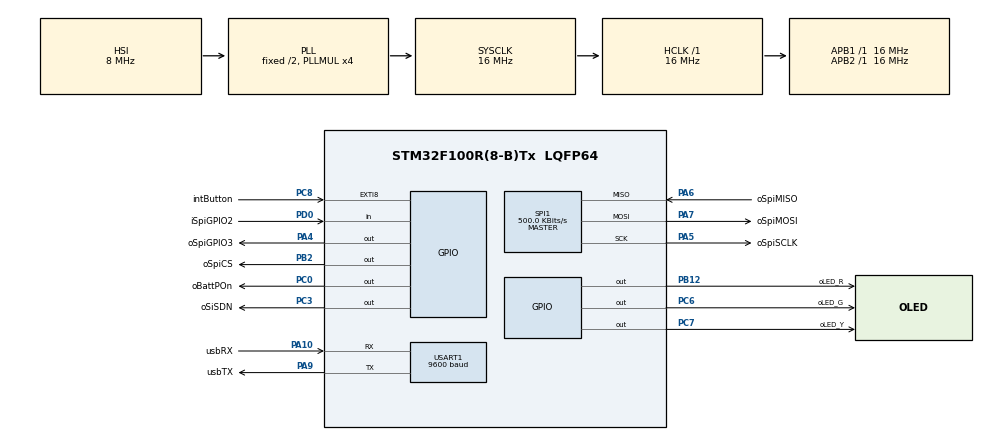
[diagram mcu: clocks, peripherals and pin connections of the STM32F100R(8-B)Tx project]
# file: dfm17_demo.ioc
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Mcu.Family=STM32F1
Mcu.Name=STM32F100R(8-B)Tx
Mcu.Package=LQFP64
NVIC.EXTI9_5_IRQn=true\:0\:0\:false\:false\:true\:true\:true\:true
NVIC.PriorityGroup=NVIC_PRIORITYGROUP_4
PA10.GPIO_Label=usbRX
PA10.Mode=Asynchronous
PA10.Signal=USART1_RX
PA13.Mode=Serial_Wire
PA13.Signal=SYS_JTMS-SWDIO
PA14.Mode=Serial_Wire
PA14.Signal=SYS_JTCK-SWCLK
PA4.GPIO_Label=oSpiGPIO3
PA4.Signal=GPIO_Output
PA5.GPIO_Label=oSpiSCLK
PA5.GPIO_Speed=GPIO_SPEED_FREQ_LOW
PA5.Mode=Full_Duplex_Master
PA5.Signal=SPI1_SCK
PA6.GPIO_Label=oSpiMISO
PA6.GPIO_PuPd=GPIO_PULLUP
PA6.Mode=Full_Duplex_Master
PA6.Signal=SPI1_MISO
PA7.GPIO_Label=oSpiMOSI
PA7.GPIO_Speed=GPIO_SPEED_FREQ_LOW
PA7.Mode=Full_Duplex_Master
PA7.Signal=SPI1_MOSI
PA9.GPIO_Label=usbTX
PA9.Mode=Asynchronous
PA9.Signal=USART1_TX
PB12.GPIO_Label=oLED_R
PB12.Signal=GPIO_Output
PB2.GPIO_Label=oSpiCS
PB2.GPIO_PuPd=GPIO_PULLUP
PB2.GPIO_Speed=GPIO_SPEED_FREQ_LOW
PB2.PinState=GPIO_PIN_SET
PB2.Signal=GPIO_Output
PB3.Signal=SYS_JTDO-TRACESWO
PC0.GPIO_Label=oBattPOn
PC0.Signal=GPIO_Output
PC3.GPIO_Label=oSiSDN
PC3.GPIO_PuPd=GPIO_PULLUP
PC3.PinState=GPIO_PIN_SET
PC3.Signal=GPIO_Output
PC6.GPIO_Label=oLED_G
PC6.Signal=GPIO_Output
PC7.GPIO_Label=oLED_Y
PC7.Signal=GPIO_Output
PC8.GPIO_Label=intButton
PC8.GPIO_ModeDefaultEXTI=GPIO_MODE_IT_RISING_FALLING
PC8.Signal=GPXTI8
PD0-OSC_IN.GPIO_Label=iSpiGPIO2
PD0-OSC_IN.Signal=GPIO_Input
ProjectManager.HeapSize=0x200
ProjectManager.StackSize=0x400
ProjectManager.TargetToolchain=STM32CubeIDE
RCC.AHBFreq_Value=16000000
RCC.APB1Freq_Value=16000000
RCC.APB1TimFreq_Value=16000000
RCC.APB2Freq_Value=16000000
RCC.APB2TimFreq_Value=16000000
RCC.HCLKFreq_Value=16000000
RCC.PLLMUL=RCC_PLL_MUL4
RCC.SYSCLKFreq_VALUE=16000000
RCC.SYSCLKSource=RCC_SYSCLKSOURCE_PLLCLK
SPI1.BaudRatePrescaler=SPI_BAUDRATEPRESCALER_32
SPI1.CLKPolarity=SPI_POLARITY_LOW
SPI1.CalculateBaudRate=500.0 KBits/s
SPI1.Direction=SPI_DIRECTION_2LINES
SPI1.Mode=SPI_MODE_MASTER
SPI1.VirtualType=VM_MASTER
TIM1.Period=0xffff-1
TIM1.Prescaler=16-1
USART1.BaudRate=9600
USART1.VirtualMode=VM_ASYNC
VP_TIM1_VS_ClockSourceINT.Mode=Internal
VP_TIM2_VS_ClockSourceINT.Mode=Internal
board=custom

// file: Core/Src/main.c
/* USER CODE BEGIN Header */
/**
  ******************************************************************************
  * @file           : main.c
  * @brief          : Main program body
  ******************************************************************************
  * @attention
  *
  * Copyright (c) 2023 STMicroelectronics.
  * All rights reserved.
  *
  * This software is licensed under terms that can be found in the LICENSE file
  * in the root directory of this software component.
  * If no LICENSE file comes with this software, it is provided AS-IS.
  *
  ******************************************************************************
  */
/* USER CODE END Header */

#include "main.h"
#include "../drivers/radio/Si446x/si446x_patch.h"

/* USER CODE BEGIN Includes */
#include "string.h"
#include "led.h"
#include "stdio.h"
#include "stdarg.h"
#include "radio.h"

#if CONFIG_TO_USE == USE_CW
#include <radio_config_Si4063_CW.h>

#elif CONFIG_TO_USE == USE_GRAW
#include <radio_config_Si4063_GRAW.h>

#elif CONFIG_TO_USE == USE_PN9
#include <radio_config_Si4063_PN9.h>
#endif

#define PATCHLEN(arr) ((int) (sizeof (arr) / sizeof (arr)[0]))

/* USER CODE END Includes */

/* USER CODE BEGIN PD */
#define ERR_CTSFAIL 		8000
#define ERR_SPIRECEIVE		8100

#define radioCmd_REQUEST_DEVICE_STATE 	0x33
#define radioCmd_READ_CMD_BUFF			0x44
#define radioCmd_FILLER					0xFF

/* USER CODE END PD */

/* Private macro -------------------------------G------------------------------*/

SPI_HandleTypeDef hspi1;

TIM_HandleTypeDef htim1;
TIM_HandleTypeDef htim2;

UART_HandleTypeDef huart1;

/* USER CODE BEGIN PV */

uint32_t usbLastms			= 0;

uint16_t usbIntervalMs		= 2000;

/* USER CODE END PV */

void SystemClock_Config(void);
static void MX_GPIO_Init(void);
static void MX_USART1_UART_Init(void);
static void MX_SPI1_Init(void);
static void MX_TIM1_Init(void);
static void MX_TIM2_Init(void);

int main(void)
{

  /* MCU Configuration--------------------------------------------------------*/

  /* Reset of all peripherals, Initializes the Flash interface and the Systick. */
  HAL_Init();

  /* Configure the system clock */
  SystemClock_Config();

  /* Initialize all configured peripherals */
  MX_GPIO_Init();
  MX_USART1_UART_Init();
  MX_SPI1_Init();
  MX_TIM1_Init();
  MX_TIM2_Init();
  /* USER CODE BEGIN 2 */
  SPI_Enable();

  debug_msg("Starting timer.\r\n");
  HAL_TIM_Base_Start(&htim1); //start timer 1

  debug_msg("Setting BattPON.\r\n");
  assertBattPOn();

  //radio boot
  int resultSetup = 0;
  debug_msg("Start booting radio...\r\n");
  resultSetup = bootRadio();

  if (!resultSetup) {
	  HAL_GPIO_WritePin(oLED_G_GPIO_Port, oLED_G_Pin, GPIO_PIN_SET);
  } else {
	  HAL_GPIO_WritePin(oLED_R_GPIO_Port, oLED_R_Pin, GPIO_PIN_SET);
  }

  /* USER CODE END 2 */

  /* Infinite loop */
  /* USER CODE BEGIN WHILE */
  debug_msg("Starting main loop...");
  while (1)
  {
    /* USER CODE END WHILE */

    /* USER CODE BEGIN 3 */
	  //ledInterval(oLED_R_GPIO_Port, oLED_R_Pin, oLED_Y_GPIO_Port, oLED_Y_Pin);
	  //usbInterval();
	  //testToggleLED(oLED_Y_GPIO_Port, oLED_Y_Pin);

	#if CONFIG_TO_USE == USE_GRAW
	for(int tonedelay = 500; tonedelay >= 100; tonedelay--){
		radioToggleToneGPIO(tonedelay);
	}
	#endif

  }
  /* USER CODE END 3 */
}

void SystemClock_Config(void)
{
  RCC_OscInitTypeDef RCC_OscInitStruct = {0};
  RCC_ClkInitTypeDef RCC_ClkInitStruct = {0};

  /** Initializes the RCC Oscillators according to the specified parameters
  * in the RCC_OscInitTypeDef structure.
  */
  RCC_OscInitStruct.OscillatorType = RCC_OSCILLATORTYPE_HSI;
  RCC_OscInitStruct.HSIState = RCC_HSI_ON;
  RCC_OscInitStruct.HSICalibrationValue = RCC_HSICALIBRATION_DEFAULT;
  RCC_OscInitStruct.PLL.PLLState = RCC_PLL_ON;
  RCC_OscInitStruct.PLL.PLLSource = RCC_PLLSOURCE_HSI_DIV2;
  RCC_OscInitStruct.PLL.PLLMUL = RCC_PLL_MUL4;
  if (HAL_RCC_OscConfig(&RCC_OscInitStruct) != HAL_OK)
  {
    Error_Handler();
  }

  /** Initializes the CPU, AHB and APB buses clocks
  */
  RCC_ClkInitStruct.ClockType = RCC_CLOCKTYPE_HCLK|RCC_CLOCKTYPE_SYSCLK
                              |RCC_CLOCKTYPE_PCLK1|RCC_CLOCKTYPE_PCLK2;
  RCC_ClkInitStruct.SYSCLKSource = RCC_SYSCLKSOURCE_PLLCLK;
  RCC_ClkInitStruct.AHBCLKDivider = RCC_SYSCLK_DIV1;
  RCC_ClkInitStruct.APB1CLKDivider = RCC_HCLK_DIV1;
  RCC_ClkInitStruct.APB2CLKDivider = RCC_HCLK_DIV1;

  if (HAL_RCC_ClockConfig(&RCC_ClkInitStruct, FLASH_LATENCY_0) != HAL_OK)
  {
    Error_Handler();
  }
}

static void MX_SPI1_Init(void)
{

  /* SPI1 parameter configuration*/
  hspi1.Instance = SPI1;
  hspi1.Init.Mode = SPI_MODE_MASTER;
  hspi1.Init.Direction = SPI_DIRECTION_2LINES;
  hspi1.Init.DataSize = SPI_DATASIZE_8BIT;
  hspi1.Init.CLKPolarity = SPI_POLARITY_LOW;
  hspi1.Init.CLKPhase = SPI_PHASE_1EDGE;
  hspi1.Init.NSS = SPI_NSS_SOFT;
  hspi1.Init.BaudRatePrescaler = SPI_BAUDRATEPRESCALER_32;
  hspi1.Init.FirstBit = SPI_FIRSTBIT_MSB;
  hspi1.Init.TIMode = SPI_TIMODE_DISABLE;
  hspi1.Init.CRCCalculation = SPI_CRCCALCULATION_DISABLE;
  hspi1.Init.CRCPolynomial = 10;
  if (HAL_SPI_Init(&hspi1) != HAL_OK)
  {
    Error_Handler();
  }

}

static void MX_TIM1_Init(void)
{

  TIM_ClockConfigTypeDef sClockSourceConfig = {0};
  TIM_MasterConfigTypeDef sMasterConfig = {0};

  htim1.Instance = TIM1;
  htim1.Init.Prescaler = 16-1;
  htim1.Init.CounterMode = TIM_COUNTERMODE_UP;
  htim1.Init.Period = 0xffff-1;
  htim1.Init.ClockDivision = TIM_CLOCKDIVISION_DIV1;
  htim1.Init.RepetitionCounter = 0;
  htim1.Init.AutoReloadPreload = TIM_AUTORELOAD_PRELOAD_DISABLE;
  if (HAL_TIM_Base_Init(&htim1) != HAL_OK)
  {
    Error_Handler();
  }
  sClockSourceConfig.ClockSource = TIM_CLOCKSOURCE_INTERNAL;
  if (HAL_TIM_ConfigClockSource(&htim1, &sClockSourceConfig) != HAL_OK)
  {
    Error_Handler();
  }
  sMasterConfig.MasterOutputTrigger = TIM_TRGO_RESET;
  sMasterConfig.MasterSlaveMode = TIM_MASTERSLAVEMODE_DISABLE;
  if (HAL_TIMEx_MasterConfigSynchronization(&htim1, &sMasterConfig) != HAL_OK)
  {
    Error_Handler();
  }

}

static void MX_TIM2_Init(void)
{

  TIM_ClockConfigTypeDef sClockSourceConfig = {0};
  TIM_MasterConfigTypeDef sMasterConfig = {0};

  htim2.Instance = TIM2;
  htim2.Init.Prescaler = 0;
  htim2.Init.CounterMode = TIM_COUNTERMODE_UP;
  htim2.Init.Period = 65535;
  htim2.Init.ClockDivision = TIM_CLOCKDIVISION_DIV1;
  htim2.Init.AutoReloadPreload = TIM_AUTORELOAD_PRELOAD_DISABLE;
  if (HAL_TIM_Base_Init(&htim2) != HAL_OK)
  {
    Error_Handler();
  }
  sClockSourceConfig.ClockSource = TIM_CLOCKSOURCE_INTERNAL;
  if (HAL_TIM_ConfigClockSource(&htim2, &sClockSourceConfig) != HAL_OK)
  {
    Error_Handler();
  }
  sMasterConfig.MasterOutputTrigger = TIM_TRGO_RESET;
  sMasterConfig.MasterSlaveMode = TIM_MASTERSLAVEMODE_DISABLE;
  if (HAL_TIMEx_MasterConfigSynchronization(&htim2, &sMasterConfig) != HAL_OK)
  {
    Error_Handler();
  }

}

static void MX_USART1_UART_Init(void)
{

  huart1.Instance = USART1;
  huart1.Init.BaudRate = 9600;
  huart1.Init.WordLength = UART_WORDLENGTH_8B;
  huart1.Init.StopBits = UART_STOPBITS_1;
  huart1.Init.Parity = UART_PARITY_NONE;
  huart1.Init.Mode = UART_MODE_TX_RX;
  huart1.Init.HwFlowCtl = UART_HWCONTROL_NONE;
  huart1.Init.OverSampling = UART_OVERSAMPLING_16;
  if (HAL_UART_Init(&huart1) != HAL_OK)
  {
    Error_Handler();
  }

}

static void MX_GPIO_Init(void)
{
  GPIO_InitTypeDef GPIO_InitStruct = {0};

  /* GPIO Ports Clock Enable */
  __HAL_RCC_GPIOD_CLK_ENABLE();
  __HAL_RCC_GPIOC_CLK_ENABLE();
  __HAL_RCC_GPIOA_CLK_ENABLE();
  __HAL_RCC_GPIOB_CLK_ENABLE();

  /*Configure GPIO pin Output Level */
  HAL_GPIO_WritePin(GPIOC, oBattPOn_Pin|oLED_G_Pin|oLED_Y_Pin, GPIO_PIN_RESET);

  /*Configure GPIO pin Output Level */
  HAL_GPIO_WritePin(oSiSDN_GPIO_Port, oSiSDN_Pin, GPIO_PIN_SET);

  /*Configure GPIO pin Output Level */
  HAL_GPIO_WritePin(oSpiGPIO3_GPIO_Port, oSpiGPIO3_Pin, GPIO_PIN_RESET);

  /*Configure GPIO pin Output Level */
  HAL_GPIO_WritePin(oSpiCS_GPIO_Port, oSpiCS_Pin, GPIO_PIN_SET);

  /*Configure GPIO pin Output Level */
  HAL_GPIO_WritePin(oLED_R_GPIO_Port, oLED_R_Pin, GPIO_PIN_RESET);

  /*Configure GPIO pin : iSpiGPIO2_Pin */
  GPIO_InitStruct.Pin = iSpiGPIO2_Pin;
  GPIO_InitStruct.Mode = GPIO_MODE_INPUT;
  GPIO_InitStruct.Pull = GPIO_NOPULL;
  HAL_GPIO_Init(iSpiGPIO2_GPIO_Port, &GPIO_InitStruct);

  /*Configure GPIO pins : oBattPOn_Pin oLED_G_Pin oLED_Y_Pin */
  GPIO_InitStruct.Pin = oBattPOn_Pin|oLED_G_Pin|oLED_Y_Pin;
  GPIO_InitStruct.Mode = GPIO_MODE_OUTPUT_PP;
  GPIO_InitStruct.Pull = GPIO_NOPULL;
  GPIO_InitStruct.Speed = GPIO_SPEED_FREQ_LOW;
  HAL_GPIO_Init(GPIOC, &GPIO_InitStruct);

  /*Configure GPIO pin : oSiSDN_Pin */
  GPIO_InitStruct.Pin = oSiSDN_Pin;
  GPIO_InitStruct.Mode = GPIO_MODE_OUTPUT_PP;
  GPIO_InitStruct.Pull = GPIO_PULLUP;
  GPIO_InitStruct.Speed = GPIO_SPEED_FREQ_LOW;
  HAL_GPIO_Init(oSiSDN_GPIO_Port, &GPIO_InitStruct);

  /*Configure GPIO pin : oSpiGPIO3_Pin */
  GPIO_InitStruct.Pin = oSpiGPIO3_Pin;
  GPIO_InitStruct.Mode = GPIO_MODE_OUTPUT_PP;
  GPIO_InitStruct.Pull = GPIO_NOPULL;
  GPIO_InitStruct.Speed = GPIO_SPEED_FREQ_LOW;
  HAL_GPIO_Init(oSpiGPIO3_GPIO_Port, &GPIO_InitStruct);

  /*Configure GPIO pin : oSpiCS_Pin */
  GPIO_InitStruct.Pin = oSpiCS_Pin;
  GPIO_InitStruct.Mode = GPIO_MODE_OUTPUT_PP;
  GPIO_InitStruct.Pull = GPIO_PULLUP;
  GPIO_InitStruct.Speed = GPIO_SPEED_FREQ_LOW;
  HAL_GPIO_Init(oSpiCS_GPIO_Port, &GPIO_InitStruct);

  /*Configure GPIO pin : oLED_R_Pin */
  GPIO_InitStruct.Pin = oLED_R_Pin;
  GPIO_InitStruct.Mode = GPIO_MODE_OUTPUT_PP;
  GPIO_InitStruct.Pull = GPIO_NOPULL;
  GPIO_InitStruct.Speed = GPIO_SPEED_FREQ_LOW;
  HAL_GPIO_Init(oLED_R_GPIO_Port, &GPIO_InitStruct);

  /*Configure GPIO pin : intButton_Pin */
  GPIO_InitStruct.Pin = intButton_Pin;
  GPIO_InitStruct.Mode = GPIO_MODE_IT_RISING_FALLING;
  GPIO_InitStruct.Pull = GPIO_NOPULL;
  HAL_GPIO_Init(intButton_GPIO_Port, &GPIO_InitStruct);

  /*Configure peripheral I/O remapping */
  __HAL_AFIO_REMAP_PD01_ENABLE();

  /* EXTI interrupt init*/
  HAL_NVIC_SetPriority(EXTI9_5_IRQn, 0, 0);
  HAL_NVIC_EnableIRQ(EXTI9_5_IRQn);

}

/* USER CODE BEGIN 4 */
void HAL_GPIO_EXTI_Callback(uint16_t GPIO_Pin)
{
    if(GPIO_Pin == intButton_Pin) // INT Source is pin A9
    {
    	GPIO_PinState sButton = HAL_GPIO_ReadPin(intButton_GPIO_Port, intButton_Pin);
    	HAL_GPIO_WritePin(oLED_Y_GPIO_Port, oLED_Y_Pin, sButton); // Toggle LED
    }
}

void SPI_Transmit(uint8_t *data, int size) {

	/************** STEPS TO FOLLOW *****************
	1. Wait for the TXE bit to set in the Status Register
	2. Write the data to the Data Register
	3. After the data has been transmitted, wait for the BSY bit to reset in Status Register
	4. Clear the Overrun flag by reading DR and SR
	************************************************/

	int i=0;
	while (i<size) {
	   while (!((SPI1->SR)&(1<<1))) {};  // wait for TXE bit to set -> This will indicate that the buffer is empty
	   SPI1->DR = data[i];  // load the data into the Data Register
	   i++;
	}

	/*During discontinuous communications, there is a 2 APB clock period delay between the
	write operation to the SPI_DR register and BSY bit setting. As a consequence it is
	mandatory to wait first until TXE is set and then until BSY is cleared after writing the last
	data.
	 */
	while (!((SPI1->SR)&(1<<1))) {};  // wait for TXE bit to set -> This will indicate that the buffer is empty
	while (((SPI1->SR)&(1<<7))) {};  // wait for BSY bit to Reset -> This will indicate that SPI is not busy in communication

	//  Clear the Overrun flag by reading DR and SR
	uint8_t temp = SPI1->DR;
	temp = SPI1->SR;

}

void SPI_Receive (uint8_t *data, int size)
{
	/************** STEPS TO FOLLOW *****************
	1. Wait for the BSY bit to reset in Status Register
	2. Send some Dummy data before reading the DATA
	3. Wait for the RXNE bit to Set in the status Register
	4. Read data from Data Register
	************************************************/
	while (size) {
		while (((SPI1->SR)&(1<<7))) {};  // wait for BSY bit to Reset -> This will indicate that SPI is not busy in communication
		SPI1->DR = 0;  // send dummy data
		while (!((SPI1->SR) &(1<<0))){};  // Wait for RXNE to set -> This will indicate that the Rx buffer is not empty
	  *data++ = (SPI1->DR);
		size--;
	}
}

void SPI_TransmitReceive(uint8_t* txdata, uint8_t *rxdata, int size) {
	/************** STEPS TO FOLLOW *****************
	1. Wait for the BSY bit to reset in Status Register
	2. Send some Dummy data before reading the DATA
	3. Wait for the RXNE bit to Set in the status Register
	4. Read data from Data Register
	************************************************/
	assertRadioCS();
	while (size) {
		while (((SPI1->SR)&(1<<7))) {};  // wait for BSY bit to Reset -> This will indicate that SPI is not busy in communication
		SPI1->DR = 0;  // send dummy data
		while (!((SPI1->SR) &(1<<0))){};  // Wait for RXNE to set -> This will indicate that the Rx buffer is not empty
	  *rxdata++ = (SPI1->DR);
		size--;
	}
	deassertRadioCS();
}

void delay_us(uint16_t us) {
	__HAL_TIM_SET_COUNTER(&htim1,0);  // set the counter value a 0
	while (__HAL_TIM_GET_COUNTER(&htim1) < us);  // wait for the counter to reach the us input in the parameter
}

void debug_msg(const char *fmt, ...) {
	va_list args;
	va_start(args, fmt);
	vprintf(fmt, args);
	va_end(args);
}

void SPI_Enable(void) {
	SPI1->CR1 |= (1<<6);   // SPE=1, Peripheral enabled
}

void SPI_Disable(void) {
	SPI1->CR1 &= ~(1<<6);   // SPE=0, Peripheral Disabled
}

int radioWaitForCTS(void) {
	uint8_t cmdRequest[] = {radioCmd_REQUEST_DEVICE_STATE};

	uint8_t reqCTS[1] = {radioCmd_READ_CMD_BUFF};
	uint8_t respCTS[1] = {0};
	for(int x = 0; x <= 100; x++ ) {
		assertRadioCS();
		SPI_Transmit(reqCTS, 1);
		SPI_Receive(respCTS, 1);
		deassertRadioCS();

		if(respCTS[0] == 0xFF) {
			debug_msg("      ...Found CTS at msg#%d\r\n", x);
			return 0;
		}
		delay_us(25);
	}

	debug_msg("     ...ERROR: CTS not found\r\n");
	return ERR_CTSFAIL;
}

int bootRadio(void) {
	resetRadio();
	delay_us(50);

	int result = 0;

	// wait for CTS to allow to boot
	result = radioWaitForCTS();
	if (result) {return result;}

	sendPatchCmds();

	uint8_t cmdRF_POWER_UP[] = {RF_POWER_UP};
	uint8_t cmdRF_GPIO_PIN_CFG[] = {RF_GPIO_PIN_CFG};
	uint8_t cmdRF_GLOBAL_XO_TUNE_2[] = {RF_GLOBAL_XO_TUNE_2};
	uint8_t cmdRF_GLOBAL_CONFIG_1[] = {RF_GLOBAL_CONFIG_1};
	uint8_t cmdRF_INT_CTL_ENABLE_1[] = {RF_INT_CTL_ENABLE_1};
	uint8_t cmdRF_FRR_CTL_A_MODE_4[] = {RF_FRR_CTL_A_MODE_4};
	uint8_t cmdRF_PREAMBLE_CONFIG_1[] = {RF_PREAMBLE_CONFIG_1};
	uint8_t cmdRF_MODEM_MOD_TYPE_12[] = {RF_MODEM_MOD_TYPE_12};
	uint8_t cmdRF_MODEM_FREQ_DEV_0_1[] = {RF_MODEM_FREQ_DEV_0_1};
	uint8_t cmdRF_MODEM_TX_RAMP_DELAY_12[] = {RF_MODEM_TX_RAMP_DELAY_12};
	uint8_t cmdRF_MODEM_BCR_NCO_OFFSET_2_12[] = {RF_MODEM_BCR_NCO_OFFSET_2_12};
	uint8_t cmdRF_MODEM_AFC_LIMITER_1_3[] = {RF_MODEM_AFC_LIMITER_1_3};
	uint8_t cmdRF_MODEM_AGC_CONTROL_1[] = {RF_MODEM_AGC_CONTROL_1};
	uint8_t cmdRF_MODEM_AGC_WINDOW_SIZE_12[] = {RF_MODEM_AGC_WINDOW_SIZE_12};
	uint8_t cmdRF_MODEM_RAW_CONTROL_3[] = {RF_MODEM_RAW_CONTROL_3};
	uint8_t cmdRF_MODEM_RAW_SEARCH2_2[] = {RF_MODEM_RAW_SEARCH2_2};
	uint8_t cmdRF_MODEM_SPIKE_DET_1[] = {RF_MODEM_SPIKE_DET_1};
	uint8_t cmdRF_PA_MODE_4[] = {RF_PA_MODE_4};
	uint8_t cmdRF_SYNTH_PFDCP_CPFF_7[] = {RF_SYNTH_PFDCP_CPFF_7};
	uint8_t cmdRF_FREQ_CONTROL_INTE_7[] = {RF_FREQ_CONTROL_INTE_7};

	radio_comm_SendCmd(sizeof(cmdRF_POWER_UP), cmdRF_POWER_UP);										//Send cmdRF_POWER_UP
	radio_comm_SendCmd(sizeof(cmdRF_GPIO_PIN_CFG), cmdRF_GPIO_PIN_CFG);								//Send cmdRF_GPIO_PIN_CFG
	radio_comm_SendCmd(sizeof(cmdRF_GLOBAL_XO_TUNE_2), cmdRF_GLOBAL_XO_TUNE_2);						//Send cmdRF_GLOBAL_XO_TUNE_2
	radio_comm_SendCmd(sizeof(cmdRF_GLOBAL_CONFIG_1), cmdRF_GLOBAL_CONFIG_1);						//Send cmdRF_GLOBAL_CONFIG_1
	radio_comm_SendCmd(sizeof(cmdRF_GLOBAL_CONFIG_1), cmdRF_GLOBAL_CONFIG_1);						//Send cmdRF_GLOBAL_CONFIG_1
	radio_comm_SendCmd(sizeof(cmdRF_INT_CTL_ENABLE_1), cmdRF_INT_CTL_ENABLE_1);						//Send cmdRF_INT_CTL_ENABLE_1
	radio_comm_SendCmd(sizeof(cmdRF_FRR_CTL_A_MODE_4), cmdRF_FRR_CTL_A_MODE_4);						//Send cmdRF_FRR_CTL_A_MODE_4
	radio_comm_SendCmd(sizeof(cmdRF_PREAMBLE_CONFIG_1), cmdRF_PREAMBLE_CONFIG_1);					//Send cmdRF_PREAMBLE_CONFIG_1
	radio_comm_SendCmd(sizeof(cmdRF_MODEM_MOD_TYPE_12), cmdRF_MODEM_MOD_TYPE_12);					//Send cmdRF_MODEM_MOD_TYPE_12
	radio_comm_SendCmd(sizeof(cmdRF_MODEM_FREQ_DEV_0_1), cmdRF_MODEM_FREQ_DEV_0_1);					//Send cmdRF_MODEM_FREQ_DEV_0_1
	radio_comm_SendCmd(sizeof(cmdRF_MODEM_TX_RAMP_DELAY_12), cmdRF_MODEM_TX_RAMP_DELAY_12);			//Send cmdRF_MODEM_TX_RAMP_DELAY_12
	radio_comm_SendCmd(sizeof(cmdRF_MODEM_BCR_NCO_OFFSET_2_12), cmdRF_MODEM_BCR_NCO_OFFSET_2_12);	//Send cmdRF_MODEM_BCR_NCO_OFFSET_2_12
	radio_comm_SendCmd(sizeof(cmdRF_MODEM_AFC_LIMITER_1_3), cmdRF_MODEM_AFC_LIMITER_1_3);			//Send cmdRF_MODEM_AFC_LIMITER_1_3
	radio_comm_SendCmd(sizeof(cmdRF_MODEM_AGC_CONTROL_1), cmdRF_MODEM_AGC_CONTROL_1);				//Send cmdRF_MODEM_AGC_CONTROL_1
	radio_comm_SendCmd(sizeof(cmdRF_MODEM_AGC_WINDOW_SIZE_12), cmdRF_MODEM_AGC_WINDOW_SIZE_12);		//Send cmdRF_MODEM_AGC_WINDOW_SIZE_12
	radio_comm_SendCmd(sizeof(cmdRF_MODEM_RAW_CONTROL_3), cmdRF_MODEM_RAW_CONTROL_3);				//Send cmdRF_MODEM_RAW_CONTROL_3
	radio_comm_SendCmd(sizeof(cmdRF_MODEM_RAW_SEARCH2_2), cmdRF_MODEM_RAW_SEARCH2_2);				//Send cmdRF_MODEM_RAW_SEARCH2_2
	radio_comm_SendCmd(sizeof(cmdRF_MODEM_SPIKE_DET_1), cmdRF_MODEM_SPIKE_DET_1);					//Send cmdRF_MODEM_SPIKE_DET_1
	radio_comm_SendCmd(sizeof(cmdRF_PA_MODE_4), cmdRF_PA_MODE_4);									//Send cmdRF_PA_MODE_4
	radio_comm_SendCmd(sizeof(cmdRF_SYNTH_PFDCP_CPFF_7), cmdRF_SYNTH_PFDCP_CPFF_7);					//Send cmdRF_SYNTH_PFDCP_CPFF_7
	radio_comm_SendCmd(sizeof(cmdRF_FREQ_CONTROL_INTE_7), cmdRF_FREQ_CONTROL_INTE_7);				//Send cmdRF_FREQ_CONTROL_INTE_7

	//Get Status of Radio
	int radioStateReady = radio_RequestDeviceState();

	//Change state to Ready
	uint8_t changeReadyCmd[] = {0x34, 0x03};
	radio_comm_SendCmdNoCTS(sizeof(changeReadyCmd), changeReadyCmd);

	//Send last config packets
	//uint8_t pkt80Cmd[] = {0x11, 0x40, 0x04, 0x00, 0x4D, 0x05, 0xB4, 0x00, 0x04, 0x00, 0x20};
	//uint8_t pkt81Cmd[] = {0x11, 0x20, 0x02, 0x0D, 0x00, 0x00};
	//uint8_t pkt82Cmd[] = {0x11, 0x20, 0x02, 0x0B, 0x01, 0x33};
	//radio_comm_SendCmd(sizeof(pkt80Cmd), pkt80Cmd);   // commenting out this command will center TX at approx 400Mhz
	//radio_comm_SendCmd(sizeof(pkt81Cmd), pkt81Cmd);
	//radio_comm_SendCmd(sizeof(pkt82Cmd), pkt82Cmd);

	uint8_t changeTxCmd[] = {0x34, 0x07};
	radio_comm_SendCmdNoCTS(sizeof(changeTxCmd), changeTxCmd);

	HAL_Delay(10);
	int radioStateTX = radio_RequestDeviceState();

	return 0;
}

void radioToggleToneGPIO(uint16_t delay) {
	//GPIO3 is PA4
	GPIOA->BSRR = (1U << 4);
	delay_us(delay);
	GPIOA->BSRR = (1U << (16+4));
	delay_us(delay);
}

int sendPatchCmds(void) {
	//debug_msg("   ...Starting patch decode\r\n");
	uint8_t Si446xPatchCommands[][9] = { SI446X_PATCH_CMDS };
	uint8_t SingleCmd[8] = {0};

	uint8_t cmdCount = 0;
	cmdCount = PATCHLEN(Si446xPatchCommands);
	//debug_msg("      ...Found %d patch commands\r\n", cmdCount);

	volatile uint16_t line = 0;
	volatile uint8_t row = 0;

	for (line = 0; line < cmdCount; line++) {
		memset(SingleCmd, 0, sizeof(SingleCmd));
		for (row=1; row<9; row++) {
			SingleCmd[row-1] = Si446xPatchCommands[line][row];
		}
		//debug_msg("      ...Sending patch command %d\r\n", line);
		radio_comm_SendCmd(sizeof(SingleCmd), SingleCmd);
	}

	//debug_msg("      ...Done Sending Patch Commands\r\n");
	return 0;
}

//uint8_t radio_comm_SendCmd(uint8_t cmdByteCount, uint8_t* pCmdData, uint8_t respByteCount, uint8_t* pRespData)
//{
//    radio_comm_SendCmd(cmdByteCount, pCmdData);
//    return 0;
//    //return radio_comm_GetResp(respByteCount, pRespData);
//}

void radio_comm_SendCmd(uint8_t byteCount, uint8_t* pData) {
	//debug_msg("   ...Start Command\r\n");
	radioWaitForCTS();

	//debug_msg("      ...Start Command Send\r\n");

	assertRadioCS();
	SPI_Transmit(pData, byteCount);
	deassertRadioCS();
	//debug_msg("      ...Command Send Done\r\n");

}

void radio_comm_SendCmdNoCTS(uint8_t byteCount, uint8_t* pData) {
	//debug_msg("   ...Start Command w/o CTS\r\n");

	//debug_msg("      ...Start Command Send\r\n");
	assertRadioCS();
	SPI_Transmit(pData, byteCount);
	deassertRadioCS();

	//debug_msg("      ...Command Send Done\r\n");

}

int radio_comm_GetResp(uint8_t respByteCount, uint8_t* pRespData) {
	HAL_StatusTypeDef hal_status;

	assertRadioCS();
	hal_status = HAL_SPI_Receive(&hspi1, pRespData, respByteCount, HAL_MAX_DELAY);
	deassertRadioCS();

	if (hal_status == HAL_OK) {
		return 0;
	} else {
		return ERR_SPIRECEIVE;
	}

}

int radio_RequestDeviceState(void) {

	uint8_t cmdRequest[] = {radioCmd_REQUEST_DEVICE_STATE};

	radioWaitForCTS();

	assertRadioCS();
	SPI_Transmit(cmdRequest, sizeof(cmdRequest));
	deassertRadioCS();

	uint8_t reqCTS[1] = {radioCmd_READ_CMD_BUFF};
	uint8_t respCTS[1] = {0};
	uint8_t respState[1] = {0};
	while(!(respCTS[0] == 0xFF)){
		assertRadioCS();
		SPI_Transmit(reqCTS, 1);
		SPI_Receive(respCTS, 1);

		if(respCTS[0] == 0xFF) {
			SPI_Receive(respState, 1);
		}
		deassertRadioCS();
	}

	return respState[0];

}

void resetRadio(void) {
	assertRadioShutdown();
	delay_us(30);
	deassertRadioShutdown();
}

void assertBattPOn(void) {
	// PC0
	GPIOC->BSRR = (1U << 0);
}

void usbInterval(void) {
	uint32_t currentms = HAL_GetTick();

	if ((currentms - usbLastms) >= usbIntervalMs) {
		usbLastms = currentms;

		usbPrintln("hello world");
	}
}

void usbPrintln(char _out[]){
	HAL_UART_Transmit(&huart1, (uint8_t *) _out, strlen(_out), 10);
	char newline[2] = "\r\n";
	HAL_UART_Transmit(&huart1, (uint8_t *) newline, 2, 10);
}

void usbPrint(char _out[]){
	HAL_UART_Transmit(&huart1, (uint8_t *) _out, strlen(_out), 10);
}

/* USER CODE END 4 */

void Error_Handler(void)
{
  __disable_irq();
  while (1)
  {
  }
}
